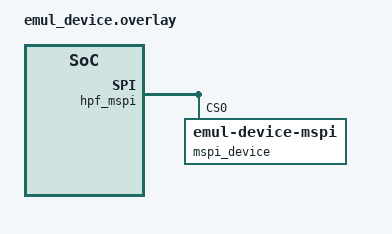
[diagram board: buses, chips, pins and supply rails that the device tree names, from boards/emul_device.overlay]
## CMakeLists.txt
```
#
# Copyright (c) 2025 Nordic Semiconductor ASA
#
# SPDX-License-Identifier: LicenseRef-Nordic-5-Clause
#

cmake_minimum_required(VERSION 3.20.0)

find_package(Zephyr REQUIRED HINTS $ENV{ZEPHYR_BASE})
project(hpf_app_fault_timer)

target_sources(app PRIVATE src/main.c)
```

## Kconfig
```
#
# Copyright (c) 2025 Nordic Semiconductor ASA
#
# SPDX-License-Identifier: LicenseRef-Nordic-5-Clause
#

config FLASH
	default y if DT_HAS_JEDEC_MSPI_NOR_ENABLED

config FLASH_PAGE_LAYOUT
	default y if DT_HAS_JEDEC_MSPI_NOR_ENABLED

source "Kconfig.zephyr"
```

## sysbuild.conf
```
#
# Copyright (c) 2025 Nordic Semiconductor ASA
#
# SPDX-License-Identifier: LicenseRef-Nordic-5-Clause
#

SB_CONFIG_VPR_LAUNCHER=n
SB_CONFIG_HPF=y
SB_CONFIG_HPF_MSPI=y
```

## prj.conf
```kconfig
#
# Copyright (c) 2025 Nordic Semiconductor ASA
#
# SPDX-License-Identifier: LicenseRef-Nordic-5-Clause
#

CONFIG_TEST=y
CONFIG_ZTEST=y
```

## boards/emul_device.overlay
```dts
/*
 * Copyright (c) 2026 Nordic Semiconductor ASA
 *
 * SPDX-License-Identifier: LicenseRef-Nordic-5-Clause
 */

&hpf_mspi {
	mspi_device@0 {
		compatible = "zephyr,emul-device-mspi";
		status = "okay";
		reg = <0>;

		mspi-max-frequency = <DT_FREQ_M(4)>;
		mspi-io-mode = "MSPI_IO_MODE_QUAD_1_4_4";
		mspi-data-rate = "MSPI_DATA_RATE_SINGLE";
		mspi-hardware-ce-num = <0>;
		mspi-cpp-mode = "MSPI_CPP_MODE_0";
		mspi-endian = "MSPI_BIG_ENDIAN";
		mspi-ce-polarity = "MSPI_CE_ACTIVE_LOW";
	};
};
```

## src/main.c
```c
/*
 * Copyright (c) 2025 Nordic Semiconductor ASA
 *
 * SPDX-License-Identifier: LicenseRef-Nordic-5-Clause
 */

#include <zephyr/kernel.h>
#include <zephyr/ztest.h>
#include <zephyr/drivers/counter.h>
#include <zephyr/devicetree.h>

#if IS_ENABLED(CONFIG_DT_HAS_JEDEC_NOR_ENABLED)
#include <zephyr/drivers/flash.h>
#elif IS_ENABLED(CONFIG_DT_HAS_ZEPHYR_EMUL_DEVICE_MSPI_ENABLED)
#include <zephyr/drivers/mspi.h>
#else
#error "The test requires an enabled MSPI NOR flash memory or an emulated MSPI device"
#endif

#define BUFFER_SIZE	64
#define TIMEOUT		15000000

#if IS_ENABLED(CONFIG_DT_HAS_JEDEC_NOR_ENABLED)
#define FLASH_TEST_AREA_DEV_NODE	DT_INST(0, jedec_nor)
#define FLASH_TEST_AREA_OFFSET		0x0

static const struct device *const flash_dev = DEVICE_DT_GET(FLASH_TEST_AREA_DEV_NODE);
#else
#define MSPI_BUS_NODE DT_NODELABEL(hpf_mspi)
#define EMUL_DEV_NODE DT_INST(0, zephyr_emul_device_mspi)

static const struct device *mspi_bus = DEVICE_DT_GET(MSPI_BUS_NODE);
static const struct mspi_dev_id emul_dev_id = {
	.dev_idx = 0xFF,
};
static const struct mspi_dev_cfg emul_dev_cfg = MSPI_DEVICE_CONFIG_DT(EMUL_DEV_NODE);
#endif

static const struct device *const flpr_fault_timer = DEVICE_DT_GET(DT_NODELABEL(fault_timer));
static volatile bool timer_irq;

static void timer_irq_handler(const struct device *dev, void *user_data)
{
	ARG_UNUSED(dev);
	ARG_UNUSED(user_data);

	timer_irq = true;
}

static void fault_timer_before(void *arg)
{
	ARG_UNUSED(arg);

	int rc;
	const struct counter_top_cfg top_cfg = {
		.callback = timer_irq_handler,
		.user_data = NULL,
		.flags = 0,
		.ticks = counter_us_to_ticks(flpr_fault_timer, CONFIG_MSPI_HPF_FAULT_TIMEOUT)
	};

#if IS_ENABLED(CONFIG_DT_HAS_JEDEC_NOR_ENABLED)
	zassert_true(device_is_ready(flash_dev));
#else
	zassert_true(device_is_ready(mspi_bus));
	rc = mspi_dev_config(mspi_bus, &emul_dev_id, MSPI_DEVICE_CONFIG_ALL, &emul_dev_cfg);
	zassert_equal(rc, 0, "Cannot configure an emulated MSPI device");
#endif
	zassert_true(device_is_ready(flpr_fault_timer));
	rc = counter_set_top_value(flpr_fault_timer, &top_cfg);
	zassert_equal(rc, 0, "Cannot set top value");

	timer_irq = false;
}

/**
 * @brief Check if the timer is not triggered when the flash is being read.
 *        When we send commands to the flash the timer should be reset and stopped by FLPR.
 *        If it is not then we will get an IRQ after CONFIG_MSPI_HPF_FAULT_TIMEOUT.
 */
ZTEST(hpf_fault_timer, test_timer_timeout)
{
	int rc;
	uint8_t buf[BUFFER_SIZE] = { 0 };
	volatile uint32_t count = 0;

	/* 1. The timer is started and the flash is read. */
	rc = counter_start(flpr_fault_timer);
	zassert_equal(rc, 0, "Cannot start timer");
#if IS_ENABLED(CONFIG_DT_HAS_JEDEC_NOR_ENABLED)
	rc = flash_read(flash_dev, FLASH_TEST_AREA_OFFSET, buf, BUFFER_SIZE);
	zassert_equal(rc, 0, "Cannot read flash");
#else
	struct mspi_xfer_packet packet = {
		.dir = MSPI_TX,
		.cmd = 0x87654321,
		.address = 0x12345678,
		.data_buf = buf,
		.num_bytes = sizeof(buf)
	};
	struct mspi_xfer xfer = {
		.xfer_mode   = MSPI_PIO,
		.packets     = &packet,
		.num_packet  = 1,
		.timeout     = 10,
		.cmd_length  = 4,
		.addr_length = 4
	};

	rc = mspi_transceive(mspi_bus, &emul_dev_id, &xfer);
	zassert_equal(rc, 0, "Cannot write on MSPI bus");
#endif
	while (timer_irq == false && count < TIMEOUT) {
		count++;
	}
	count = 0;

	/* 2. The timer should not trigger an IRQ. */
	zassert_false(timer_irq, "Timer IRQ triggered");

	/* 3. The timer is started again and the flash is not read. */
	rc = counter_start(flpr_fault_timer);
	zassert_equal(rc, 0, "Cannot start timer");

	zassert_false(timer_irq, "Timer IRQ triggered");

	while (timer_irq == false && count < TIMEOUT) {
		count++;
	}

	/* 4. FLPR is not supposed to stop the counter here,
	 * because it does not receive any message.
	 * The timer should trigger an IRQ.
	 */
	zassert_true(timer_irq, "Timer IRQ not triggered");

	rc = counter_stop(flpr_fault_timer);
	zassert_equal(rc, 0, "Cannot stop timer");
}

ZTEST_SUITE(hpf_fault_timer, NULL, NULL, fault_timer_before, NULL, NULL);
```
